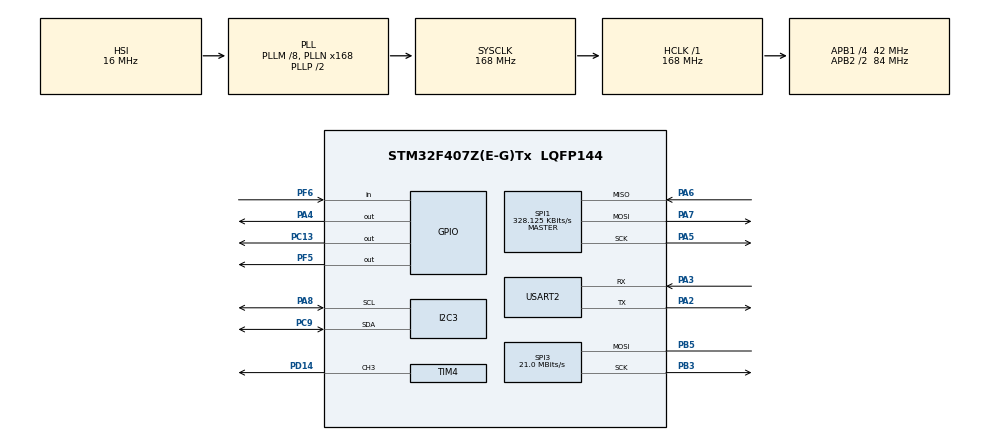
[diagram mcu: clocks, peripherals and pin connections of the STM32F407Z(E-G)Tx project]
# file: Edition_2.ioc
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Dma.I2C3_RX.0.Direction=DMA_PERIPH_TO_MEMORY
Dma.I2C3_RX.0.FIFOMode=DMA_FIFOMODE_DISABLE
Dma.I2C3_RX.0.Instance=DMA1_Stream2
Dma.I2C3_RX.0.MemDataAlignment=DMA_MDATAALIGN_BYTE
Dma.I2C3_RX.0.MemInc=DMA_MINC_ENABLE
Dma.I2C3_RX.0.Mode=DMA_NORMAL
Dma.I2C3_RX.0.PeriphDataAlignment=DMA_PDATAALIGN_BYTE
Dma.I2C3_RX.0.PeriphInc=DMA_PINC_DISABLE
Dma.I2C3_RX.0.Priority=DMA_PRIORITY_LOW
Dma.I2C3_TX.1.Direction=DMA_MEMORY_TO_PERIPH
Dma.I2C3_TX.1.FIFOMode=DMA_FIFOMODE_DISABLE
Dma.I2C3_TX.1.Instance=DMA1_Stream4
Dma.I2C3_TX.1.MemDataAlignment=DMA_MDATAALIGN_BYTE
Dma.I2C3_TX.1.MemInc=DMA_MINC_ENABLE
Dma.I2C3_TX.1.Mode=DMA_NORMAL
Dma.I2C3_TX.1.PeriphDataAlignment=DMA_PDATAALIGN_BYTE
Dma.I2C3_TX.1.PeriphInc=DMA_PINC_DISABLE
Dma.I2C3_TX.1.Priority=DMA_PRIORITY_LOW
Dma.Request0=I2C3_RX
Dma.Request1=I2C3_TX
Dma.Request2=USART2_RX
Dma.Request3=USART2_TX
Dma.USART2_RX.2.Direction=DMA_PERIPH_TO_MEMORY
Dma.USART2_RX.2.FIFOMode=DMA_FIFOMODE_DISABLE
Dma.USART2_RX.2.Instance=DMA1_Stream5
Dma.USART2_RX.2.MemDataAlignment=DMA_MDATAALIGN_BYTE
Dma.USART2_RX.2.MemInc=DMA_MINC_ENABLE
Dma.USART2_RX.2.Mode=DMA_NORMAL
Dma.USART2_RX.2.PeriphDataAlignment=DMA_PDATAALIGN_BYTE
Dma.USART2_RX.2.PeriphInc=DMA_PINC_DISABLE
Dma.USART2_RX.2.Priority=DMA_PRIORITY_LOW
Dma.USART2_TX.3.Direction=DMA_MEMORY_TO_PERIPH
Dma.USART2_TX.3.FIFOMode=DMA_FIFOMODE_DISABLE
Dma.USART2_TX.3.Instance=DMA1_Stream6
Dma.USART2_TX.3.MemDataAlignment=DMA_MDATAALIGN_BYTE
Dma.USART2_TX.3.MemInc=DMA_MINC_ENABLE
Dma.USART2_TX.3.Mode=DMA_NORMAL
Dma.USART2_TX.3.PeriphDataAlignment=DMA_PDATAALIGN_BYTE
Dma.USART2_TX.3.PeriphInc=DMA_PINC_DISABLE
Dma.USART2_TX.3.Priority=DMA_PRIORITY_LOW
FREERTOS.Tasks01=defaultTask,24,128,StartDefaultTask,Default,NULL,Dynamic,NULL,NULL
Mcu.Family=STM32F4
Mcu.Name=STM32F407Z(E-G)Tx
Mcu.Package=LQFP144
NVIC.DMA1_Stream2_IRQn=true\:5\:0\:false\:false\:true\:true\:false\:true\:true
NVIC.DMA1_Stream4_IRQn=true\:5\:0\:false\:false\:true\:true\:false\:true\:true
NVIC.DMA1_Stream5_IRQn=true\:5\:0\:false\:false\:true\:true\:false\:true\:true
NVIC.DMA1_Stream6_IRQn=true\:5\:0\:false\:false\:true\:true\:false\:true\:true
NVIC.I2C3_ER_IRQn=true\:5\:0\:false\:false\:true\:true\:true\:true\:true
NVIC.I2C3_EV_IRQn=true\:5\:0\:false\:false\:true\:true\:true\:true\:true
NVIC.PriorityGroup=NVIC_PRIORITYGROUP_4
NVIC.TIM2_IRQn=true\:15\:0\:false\:false\:true\:false\:false\:true\:true
NVIC.TimeBase=TIM2_IRQn
NVIC.TimeBaseIP=TIM2
NVIC.USART2_IRQn=true\:5\:0\:false\:false\:true\:true\:true\:true\:true
PA13.Mode=Serial_Wire
PA13.Signal=SYS_JTMS-SWDIO
PA14.Mode=Serial_Wire
PA14.Signal=SYS_JTCK-SWCLK
PA2.Mode=Asynchronous
PA2.Signal=USART2_TX
PA3.Mode=Asynchronous
PA3.Signal=USART2_RX
PA4.Signal=GPIO_Output
PA5.Mode=Full_Duplex_Master
PA5.Signal=SPI1_SCK
PA6.Mode=Full_Duplex_Master
PA6.Signal=SPI1_MISO
PA7.Mode=Full_Duplex_Master
PA7.Signal=SPI1_MOSI
PA8.Mode=I2C
PA8.Signal=I2C3_SCL
PB3.Mode=Simplex_Bidirectional_Master
PB3.Signal=SPI3_SCK
PB5.Mode=Simplex_Bidirectional_Master
PB5.Signal=SPI3_MOSI
PC13-ANTI_TAMP.Signal=GPIO_Output
PC14-OSC32_IN.Mode=LSE-External-Oscillator
PC14-OSC32_IN.Signal=RCC_OSC32_IN
PC15-OSC32_OUT.Mode=LSE-External-Oscillator
PC15-OSC32_OUT.Signal=RCC_OSC32_OUT
PC9.Mode=I2C
PC9.Signal=I2C3_SDA
PD14.Signal=S_TIM4_CH3
PF5.Signal=GPIO_Output
PF6.GPIO_PuPd=GPIO_PULLDOWN
PF6.Signal=GPIO_Input
PH0-OSC_IN.Mode=HSE-External-Oscillator
PH0-OSC_IN.Signal=RCC_OSC_IN
PH1-OSC_OUT.Mode=HSE-External-Oscillator
PH1-OSC_OUT.Signal=RCC_OSC_OUT
ProjectManager.HeapSize=0x200
ProjectManager.StackSize=0x400
ProjectManager.TargetToolchain=MDK-ARM V5.32
RCC.48MHZClocksFreq_Value=84000000
RCC.AHBFreq_Value=168000000
RCC.APB1CLKDivider=RCC_HCLK_DIV4
RCC.APB1Freq_Value=42000000
RCC.APB1TimFreq_Value=84000000
RCC.APB2CLKDivider=RCC_HCLK_DIV2
RCC.APB2Freq_Value=84000000
RCC.APB2TimFreq_Value=168000000
RCC.CortexFreq_Value=168000000
RCC.HCLKFreq_Value=168000000
RCC.HSE_VALUE=25000000
RCC.HSI_VALUE=16000000
RCC.PLLM=8
RCC.PLLN=168
RCC.SYSCLKFreq_VALUE=168000000
RCC.SYSCLKSource=RCC_SYSCLKSOURCE_PLLCLK
RCC.VCOOutputFreq_Value=336000000
SH.S_TIM4_CH3.0=TIM4_CH3,PWM Generation3 CH3
SPI1.BaudRatePrescaler=SPI_BAUDRATEPRESCALER_256
SPI1.CalculateBaudRate=328.125 KBits/s
SPI1.Direction=SPI_DIRECTION_2LINES
SPI1.Mode=SPI_MODE_MASTER
SPI1.VirtualType=VM_MASTER
SPI3.BaudRatePrescaler=SPI_BAUDRATEPRESCALER_2
SPI3.CalculateBaudRate=21.0 MBits/s
SPI3.Direction=SPI_DIRECTION_1LINE
SPI3.Mode=SPI_MODE_MASTER
SPI3.VirtualType=VM_MASTER
TIM3.AutoReloadPreload=TIM_AUTORELOAD_PRELOAD_ENABLE
TIM3.Prescaler=84 - 1
TIM4.AutoReloadPreload=TIM_AUTORELOAD_PRELOAD_ENABLE
TIM4.Channel-PWM\ Generation3\ CH3=TIM_CHANNEL_3
TIM4.Prescaler=84 - 1
USART2.VirtualMode=VM_ASYNC
VP_FREERTOS_VS_CMSIS_V2.Mode=CMSIS_V2
VP_SYS_VS_tim2.Mode=TIM2
VP_TIM3_VS_ClockSourceINT.Mode=Internal
VP_TIM4_VS_ClockSourceINT.Mode=Internal
board=custom

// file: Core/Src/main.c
/* USER CODE BEGIN Header */
/**
  ******************************************************************************
  * @file           : main.c
  * @brief          : Main program body
  ******************************************************************************
  * @attention
  *
  * Copyright (c) 2026 STMicroelectronics.
  * All rights reserved.
  *
  * This software is licensed under terms that can be found in the LICENSE file
  * in the root directory of this software component.
  * If no LICENSE file comes with this software, it is provided AS-IS.
  *
  ******************************************************************************
  */
/* USER CODE END Header */
#include "main.h"
#include "cmsis_os.h"
#include "dma.h"
#include "i2c.h"
#include "spi.h"
#include "tim.h"
#include "usart.h"
#include "gpio.h"

/* USER CODE BEGIN Includes */

#include "rc522.h"
#include "usart.h"

/* USER CODE END Includes */

void SystemClock_Config(void);
void MX_FREERTOS_Init(void);

int main(void)
{

  /* MCU Configuration--------------------------------------------------------*/

  /* Reset of all peripherals, Initializes the Flash interface and the Systick. */
  HAL_Init();

  /* Configure the system clock */
  SystemClock_Config();

  /* Initialize all configured peripherals */
  MX_GPIO_Init();
  MX_DMA_Init();
  MX_SPI3_Init();
  MX_TIM3_Init();
  MX_TIM4_Init();
  MX_I2C3_Init();
  MX_SPI1_Init();
  MX_USART2_UART_Init();
  /* USER CODE BEGIN 2 */

  MFRC522_Pin_Init();
  MFRC522_Init();

  UART_Test_Init();
  UART_Send_String("UART Test Ready!\r\n");

  {
    uint8_t version = MFRC522_ReadRegister(0x37);
    char msg[50];
    sprintf(msg, "RC522 Version: 0x%02X\r\n", version);
    UART_Send_String(msg);
  }

  /* USER CODE END 2 */

  /* Init scheduler */
  osKernelInitialize();  /* Call init function for freertos objects (in cmsis_os2.c) */
  MX_FREERTOS_Init();

  /* Start scheduler */
  osKernelStart();

  /* We should never get here as control is now taken by the scheduler */

  /* Infinite loop */
  while (1)
  {

  }
  /* USER CODE END 3 */
}

void SystemClock_Config(void)
{
  RCC_OscInitTypeDef RCC_OscInitStruct = {0};
  RCC_ClkInitTypeDef RCC_ClkInitStruct = {0};

  /** Configure the main internal regulator output voltage
  */
  __HAL_RCC_PWR_CLK_ENABLE();
  __HAL_PWR_VOLTAGESCALING_CONFIG(PWR_REGULATOR_VOLTAGE_SCALE1);

  /** Initializes the RCC Oscillators according to the specified parameters
  * in the RCC_OscInitTypeDef structure.
  */
  RCC_OscInitStruct.OscillatorType = RCC_OSCILLATORTYPE_HSI;
  RCC_OscInitStruct.HSIState = RCC_HSI_ON;
  RCC_OscInitStruct.HSICalibrationValue = RCC_HSICALIBRATION_DEFAULT;
  RCC_OscInitStruct.PLL.PLLState = RCC_PLL_ON;
  RCC_OscInitStruct.PLL.PLLSource = RCC_PLLSOURCE_HSI;
  RCC_OscInitStruct.PLL.PLLM = 8;
  RCC_OscInitStruct.PLL.PLLN = 168;
  RCC_OscInitStruct.PLL.PLLP = RCC_PLLP_DIV2;
  RCC_OscInitStruct.PLL.PLLQ = 4;
  if (HAL_RCC_OscConfig(&RCC_OscInitStruct) != HAL_OK)
  {
    Error_Handler();
  }

  /** Initializes the CPU, AHB and APB buses clocks
  */
  RCC_ClkInitStruct.ClockType = RCC_CLOCKTYPE_HCLK|RCC_CLOCKTYPE_SYSCLK
                              |RCC_CLOCKTYPE_PCLK1|RCC_CLOCKTYPE_PCLK2;
  RCC_ClkInitStruct.SYSCLKSource = RCC_SYSCLKSOURCE_PLLCLK;
  RCC_ClkInitStruct.AHBCLKDivider = RCC_SYSCLK_DIV1;
  RCC_ClkInitStruct.APB1CLKDivider = RCC_HCLK_DIV4;
  RCC_ClkInitStruct.APB2CLKDivider = RCC_HCLK_DIV2;

  if (HAL_RCC_ClockConfig(&RCC_ClkInitStruct, FLASH_LATENCY_5) != HAL_OK)
  {
    Error_Handler();
  }
}

void HAL_TIM_PeriodElapsedCallback(TIM_HandleTypeDef *htim)
{
  if (htim->Instance == TIM2)
  {
    HAL_IncTick();
  }
}

void Error_Handler(void)
{
  __disable_irq();
  while (1)
  {
  }
}

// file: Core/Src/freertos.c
/* USER CODE BEGIN Header */
/**
  ******************************************************************************
  * File Name          : freertos.c
  * Description        : Code for freertos applications
  ******************************************************************************
  * @attention
  *
  * Copyright (c) 2026 STMicroelectronics.
  * All rights reserved.
  *
  * This software is licensed under terms that can be found in the LICENSE file
  * in the root directory of this software component.
  * If no LICENSE file comes with this software, it is provided AS-IS.
  *
  ******************************************************************************
  */
/* USER CODE END Header */

#include "FreeRTOS.h"
#include "task.h"
#include "main.h"
#include "cmsis_os.h"

/* USER CODE BEGIN Includes */
#include "Headfile.h"
#include "usart.h"
#include "Mytask.h"
#include "bluetooth.h"
/* USER CODE END Includes */

/* Definitions for defaultTask */
osThreadId_t defaultTaskHandle;
const osThreadAttr_t defaultTask_attributes = {
  .name = "defaultTask",
  .stack_size = 128 * 4,
  .priority = (osPriority_t) osPriorityNormal,
};

const osThreadAttr_t cardNavTask_attributes = {
  .name = "cardNavTask",
  .stack_size = 512 * 4,
  .priority = (osPriority_t) osPriorityNormal,
};

const osThreadAttr_t lcdShowTask_attributes = {
  .name = "lcdShowTask",
  .stack_size = 512 * 4,
  .priority = (osPriority_t) osPriorityNormal,
};

const osThreadAttr_t irtrackingTask_attributes = {
  .name = "irtrackingTask",
  .stack_size = 256 * 4,
  .priority = (osPriority_t) osPriorityNormal,
};

const osThreadAttr_t avoidanceTask_attributes = {
  .name = "avoidanceTask",
  .stack_size = 512 * 4,
  .priority = (osPriority_t) osPriorityNormal,
};

void StartDefaultTask(void *argument);

void MX_FREERTOS_Init(void); /* (MISRA C 2004 rule 8.1) */

void MX_FREERTOS_Init(void) {
  /* USER CODE BEGIN Init */
  InitDelay(168);
  IIC_init();
  IIC2_init();
  xMotorMutex = xSemaphoreCreateMutex();
  Motor_Init();
  HCSR04_Init();
  Servo_Init();
  HAL_TIM_Base_Start(&htim3);
  Avoidance_Semaphore_Init();

  /* USER CODE END Init */

  /* Create the thread(s) */
  /* creation of defaultTask */
  defaultTaskHandle = osThreadNew(StartDefaultTask, NULL, &defaultTask_attributes);

  /* USER CODE BEGIN RTOS_THREADS */
  /* add threads, ... */
  osThreadNew(car_walking, NULL, &cardNavTask_attributes);
  osThreadNew(LCD_Show_Task, NULL, &lcdShowTask_attributes);
  osThreadNew(irtracking_Task, NULL, &irtrackingTask_attributes);
  osThreadNew(Avoidance_Task, NULL, &avoidanceTask_attributes);
  su03t_Init();
  Bluetooth_Init();

  /* USER CODE END RTOS_THREADS */

}

void StartDefaultTask(void *argument)
{
  /* USER CODE BEGIN StartDefaultTask */
  /* Infinite loop */

  for(;;)
  {
    vTaskDelay(1000);
  }
  /* USER CODE END StartDefaultTask */
}
